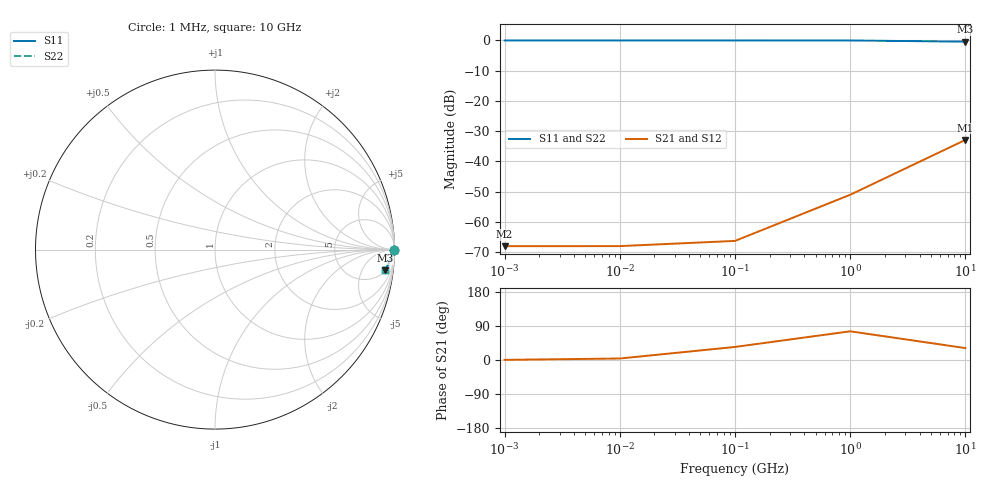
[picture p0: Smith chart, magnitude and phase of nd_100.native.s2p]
! Sonnet Data File
! From: em Version : 18.53-Lite
! From Project: nd_100
! Data is NOT De-embedded
! Data File Written: 10/12/2026 12:47:17
!< HDATE 10/12/2026 12:47:17
!< MDATE 10/12/2026 12:47:17
# GHZ S RI R 50.00000
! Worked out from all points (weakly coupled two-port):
!   5 points, 1 MHz to 10 GHz, reference 50 ohm
!   highest |S21| = -32.87 dB at 10 GHz (marker M1); lowest = -68.0 dB at 1 MHz (marker M2)
!   lowest |S11| = -0.4 dB at 10 GHz (marker M3), VSWR 43.11, Z = 279 - j722 ohm
!   |S11| at or under -10 dB: nowhere
!   |S22| runs from -0.4 to 0.0 dB; largest |S21 - S12| = 0
0.001  0.9996 -1.41e-05  0.000398 2.75e-06  0.000398 2.75e-06  0.9996 -1.41e-05
0.01  0.9996 -0.000141  0.000398 2.75e-05  0.000398 2.75e-05  0.9996 -0.000141
0.1  0.9996 -0.00141  0.000401 0.000275  0.000401 0.000275  0.9996 -0.00141
1  0.9989 -0.0141  0.000696 0.00273  0.000696 0.00273  0.9989 -0.0141
10  0.9477 -0.1147  0.0194 0.0119  0.0194 0.0119  0.9477 -0.1147
